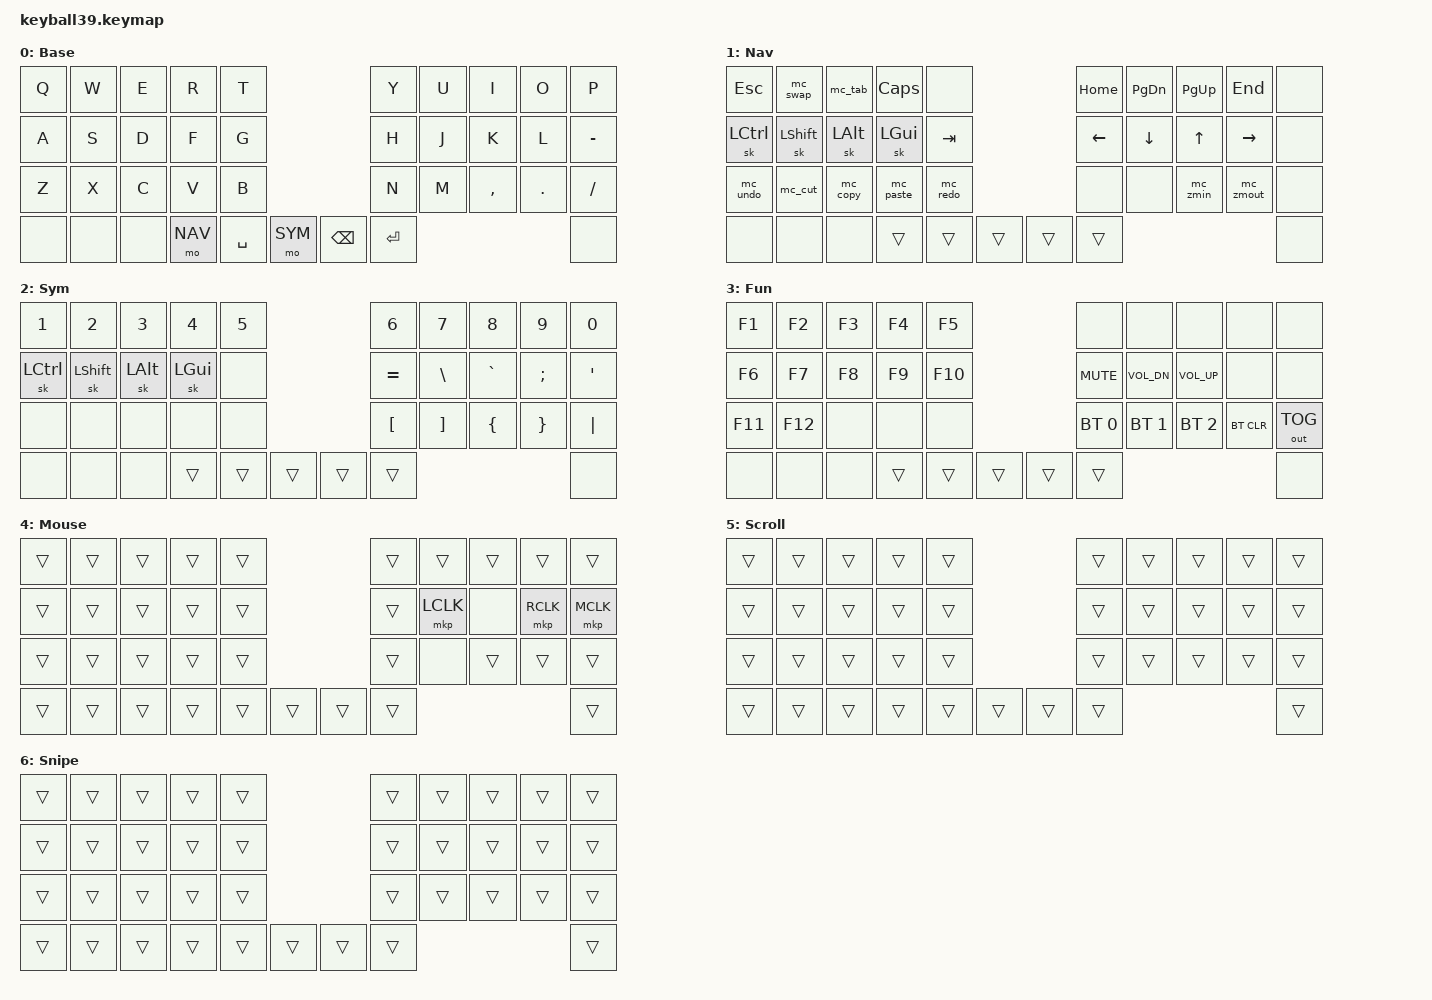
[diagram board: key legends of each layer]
/*
 * Keyball39 BT — 35-key OSM keymap
 * hold-tap 完全排除、Callum式 One-Shot ベース
 * Atreus / Corne と同じ設計
 *
 * Keyball39 LAYOUT (39 keys, 35 使用):
 *   Row 0:  0  1  2  3  4        5  6  7  8  9
 *   Row 1: 10 11 12 13 14       15 16 17 18 19
 *   Row 2: 20 21 22 23 24       25 26 27 28 29
 *   Row 3: 30 31 32 33 34 35  36 37             38
 *
 * 35キー運用: Row3 の 30,31,32,38 を未使用(none)
 * Thumb: 33=NAV 34=SPC 35=SYM | 36=BSPC 37=ENT
 */

#include <behaviors/mouse_keys.dtsi>
#include <dt-bindings/zmk/mouse.h>
#include <behaviors.dtsi>
#include <dt-bindings/zmk/bt.h>
#include <dt-bindings/zmk/keys.h>
#include <dt-bindings/zmk/outputs.h>

#define BASE 0
#define NAV  1
#define SYM  2
#define FUN  3
#define MOUSE 4
#define SCROLL 5
#define SNIPE 6

/ {
    // --- Macros ---
    macros {
        // Swapper（Cmd+Tab: キーを離すまでCmdを保持）
        mc_swap: mc_swap {
            compatible = "zmk,behavior-macro";
            #binding-cells = <0>;
            wait-ms = <30>;
            tap-ms = <30>;
            bindings = <&macro_press &kp LGUI>, <&macro_tap &kp TAB>, <&macro_pause_for_release>, <&macro_release &kp LGUI>;
        };
        // Tabber（Ctrl+Tab: キーを離すまでCtrlを保持）
        mc_tab: mc_tab {
            compatible = "zmk,behavior-macro";
            #binding-cells = <0>;
            wait-ms = <30>;
            tap-ms = <30>;
            bindings = <&macro_press &kp LCTRL>, <&macro_tap &kp TAB>, <&macro_pause_for_release>, <&macro_release &kp LCTRL>;
        };
        // Undo (Cmd+Z)
        mc_undo: mc_undo {
            compatible = "zmk,behavior-macro";
            #binding-cells = <0>;
            wait-ms = <30>;
            tap-ms = <30>;
            bindings = <&macro_press &kp LGUI>, <&macro_tap &kp Z>, <&macro_release &kp LGUI>;
        };
        // Cut (Cmd+X)
        mc_cut: mc_cut {
            compatible = "zmk,behavior-macro";
            #binding-cells = <0>;
            wait-ms = <30>;
            tap-ms = <30>;
            bindings = <&macro_press &kp LGUI>, <&macro_tap &kp X>, <&macro_release &kp LGUI>;
        };
        // Copy (Cmd+C)
        mc_copy: mc_copy {
            compatible = "zmk,behavior-macro";
            #binding-cells = <0>;
            wait-ms = <30>;
            tap-ms = <30>;
            bindings = <&macro_press &kp LGUI>, <&macro_tap &kp C>, <&macro_release &kp LGUI>;
        };
        // Paste (Cmd+V)
        mc_paste: mc_paste {
            compatible = "zmk,behavior-macro";
            #binding-cells = <0>;
            wait-ms = <30>;
            tap-ms = <30>;
            bindings = <&macro_press &kp LGUI>, <&macro_tap &kp V>, <&macro_release &kp LGUI>;
        };
        // Redo (Cmd+Shift+Z)
        mc_redo: mc_redo {
            compatible = "zmk,behavior-macro";
            #binding-cells = <0>;
            wait-ms = <30>;
            tap-ms = <30>;
            bindings = <&macro_press &kp LGUI>, <&macro_press &kp LSHFT>, <&macro_tap &kp Z>, <&macro_release &kp LSHFT>, <&macro_release &kp LGUI>;
        };
        // Zoom In (Cmd+=)
        mc_zmin: mc_zmin {
            compatible = "zmk,behavior-macro";
            #binding-cells = <0>;
            wait-ms = <30>;
            tap-ms = <30>;
            bindings = <&macro_press &kp LGUI>, <&macro_tap &kp EQUAL>, <&macro_release &kp LGUI>;
        };
        // Zoom Out (Cmd+-)
        mc_zmout: mc_zmout {
            compatible = "zmk,behavior-macro";
            #binding-cells = <0>;
            wait-ms = <30>;
            tap-ms = <30>;
            bindings = <&macro_press &kp LGUI>, <&macro_tap &kp MINUS>, <&macro_release &kp LGUI>;
        };
    };

    // --- Combos ---
    combos {
        compatible = "zmk,combos";


        // J + K → Caps Word（2026-11-12 緒方さん指示でコンボ化）
        // 旧: NAV層のキーに置いていた / 旧 D+F の tmux prefix コンボは廃止（「pdf」で誤発火）
        combo_caps_word {
            timeout-ms = <80>;
            require-prior-idle-ms = <150>;
            key-positions = <16 17>;
            bindings = <&caps_word>;
            layers = <BASE>;
        };

        // SPC(34) + BSPC(36) → LNG1 (IME ON)
        combo_lng1 {
            timeout-ms = <50>;
            require-prior-idle-ms = <150>;
            key-positions = <34 36>;
            bindings = <&kp LANGUAGE_1>;
            layers = <BASE>;
        };

        // BSPC(36) + ENT(37) → LNG2 (IME OFF)
        combo_lng2 {
            timeout-ms = <50>;
            require-prior-idle-ms = <150>;
            key-positions = <36 37>;
            bindings = <&kp LANGUAGE_2>;
            layers = <BASE>;
        };


        // --- ブートローダー / リセット（物理リセットボタンの代替・艦隊共通設計） ---
        // 「上段最外列 ＋ 下段最内列」は共通で、**親指だけずらして**切り替える。
        //   親指内側          → &bootloader（焼き用・リセット2回押し相当）
        // ⚠️ 親指の物理配置（2026-11-12 緒方さん確認。キーマップの並び順と内外が逆）:
        //     左手 [NAV][SPC][SYM] │ 中央 │ [BSPC][ENT] 右手
        //           外側 →→→ 内側          内側 ←←← 外側
        //   ＝ **内側(中央寄り)は 左=SYM / 右=BSPC**。NAV は左の一番外側。
        //   親指内側から2番目 → &sys_reset （再起動・1回押し相当）
        // ★各コンボは同一半身のキーのみで構成（片側だけUSB接続して焼く運用のため）。
        // ★layers 未指定＝全レイヤーで有効。3キーなので timeout は緩める。

        // bootloader — 左: 上段最外(0) + 下段最内(24) + SYM(35=親指内側＝中央寄り)
        combo_boot_left {
            timeout-ms = <100>;
            require-prior-idle-ms = <250>;
            key-positions = <0 24 35>;
            bindings = <&bootloader>;
        };

        // bootloader — 右: 上段最外(9) + 下段最内(25) + BSPC(36=親指内側＝中央寄り)
        combo_boot_right {
            timeout-ms = <100>;
            require-prior-idle-ms = <250>;
            key-positions = <9 25 36>;
            bindings = <&bootloader>;
        };

        // sys_reset — 左: 0 + 24 + SPC(34=内側から2番目)
        combo_reset_left {
            timeout-ms = <100>;
            require-prior-idle-ms = <250>;
            key-positions = <0 24 34>;
            bindings = <&sys_reset>;
        };

        // sys_reset — 右: 9 + 25 + ENT(37=内側から2番目)
        combo_reset_right {
            timeout-ms = <100>;
            require-prior-idle-ms = <250>;
            key-positions = <9 25 37>;
            bindings = <&sys_reset>;
        };
    };

    // --- Conditional Layer (NAV + SYM = FUN) ---
    conditional_layers {
        compatible = "zmk,conditional-layers";
        tri_layer {
            if-layers = <NAV SYM>;
            then-layer = <FUN>;
        };
    };

    // --- Keymap ---
    keymap {
        compatible = "zmk,keymap";

        // Base Layer
        //   Q    W    E    R    T  │  Y    U    I    O    P
        //   A    S    D    F    G  │  H    J    K    L    -
        //   Z    X    C    V    B  │  N    M    ,    .    /
        //   ---  ---  ---  NAV SPC  SYM│  BSPC ENT             ---
        BASE_layer {
            display-name = "Base";
            bindings = <
&kp Q  &kp W  &kp E  &kp R     &kp T                                       &kp Y     &kp U    &kp I      &kp O    &kp P
&kp A  &kp S  &kp D  &kp F     &kp G                                       &kp H     &kp J    &kp K      &kp L    &kp MINUS
&kp Z  &kp X  &kp C  &kp V     &kp B                                       &kp N     &kp M    &kp COMMA  &kp DOT  &kp FSLH
&none  &none  &none  &mo NAV   &kp SPC   &mo SYM                 &kp BSPC  &kp RET                                &none
            >;
        };

        // NAV Layer（左内側親指）
        //   ESC  SWAP STAB CAPS ---  │  HOME PGDN PGUP END  ---
        //   skCTL skSFT skALT skGUI TAB│ LEFT DOWN UP  RGHT ---
        //   UNDO CUT  COPY PST REDO │  ---  ---  ZM+  ZM-  ---
        //   ---  ---  ---  ___  ___  ___│  ___  ___             ---
        NAV_layer {
            display-name = "Nav";
            bindings = <
&kp ESC    &mc_swap   &mc_tab    &kp CAPS    &none                                        &kp HOME  &kp PG_DN  &kp PG_UP  &kp END    &none
&sk LCTRL  &sk LSHFT  &sk LALT   &sk LGUI    &kp TAB                                      &kp LEFT  &kp DOWN   &kp UP     &kp RIGHT  &none
&mc_undo   &mc_cut    &mc_copy   &mc_paste   &mc_redo                                     &none     &none      &mc_zmin   &mc_zmout  &none
&none      &none      &none      &trans      &trans     &trans                   &trans    &trans                                     &none
            >;
        };

        // SYM Layer（左外側親指）
        //   1    2    3    4    5  │  6    7    8    9    0
        //   skCTL skSFT skALT skGUI --- │  =    \    `    ;    '
        //   ---  ---  ---  ---  ---│  [    ]    {    }    |
        //   ---  ---  ---  ___  ___  ___│  ___  ___             ---
        SYM_layer {
            display-name = "Sym";
            bindings = <
&kp N1     &kp N2     &kp N3    &kp N4    &kp N5                                      &kp N6    &kp N7    &kp N8    &kp N9    &kp N0
&sk LCTRL  &sk LSHFT  &sk LALT  &sk LGUI  &none                                       &kp EQUAL &kp BSLH  &kp GRAVE &kp SEMI  &kp SQT
&none      &none      &none     &none     &none                                       &kp LBKT  &kp RBKT  &kp LBRC  &kp RBRC  &kp PIPE
&none      &none      &none     &trans    &trans     &trans                  &trans    &trans                                  &none
            >;
        };

        // FUN Layer（NAV + SYM 同時）
        //   F1   F2   F3   F4   F5 │  ---  ---  ---  ---  ---
        //   F6   F7   F8   F9   F10│  MUTE VOLD VOLU ---  ---
        //   F11  F12  ---  ---  ---│  BT0  BT1  BT2  BTCLR OUTTOG
        //   ---  ---  ---  ___  ___  ___│  ___  ___             ---
        FUN_layer {
            display-name = "Fun";
            bindings = <
&kp F1   &kp F2   &kp F3  &kp F4  &kp F5                                        &none         &none         &none         &none       &none
&kp F6   &kp F7   &kp F8  &kp F9  &kp F10                                       &kp K_MUTE    &kp K_VOL_DN  &kp K_VOL_UP  &none       &none
&kp F11  &kp F12  &none   &none   &none                                         &bt BT_SEL 0  &bt BT_SEL 1  &bt BT_SEL 2  &bt BT_CLR  &out OUT_TOG
&none    &none    &none   &trans  &trans     &trans                    &trans    &trans                                                 &none
            >;
        };

        // MOUSE Layer（トラックボール用 — 将来用）
        mouse_layer {
            display-name = "Mouse";
            bindings = <
&trans  &trans  &trans  &trans  &trans                                     &trans     &trans     &trans  &trans     &trans
&trans  &trans  &trans  &trans  &trans                                     &trans     &mkp LCLK  &none   &mkp RCLK  &mkp MCLK
&trans  &trans  &trans  &trans  &trans                                     &trans     &none      &trans  &trans     &trans
&trans  &trans  &trans  &trans  &trans  &trans                   &trans    &trans                                   &trans
            >;
        };

        // SCROLL Layer（トラックボールスクロール用 — 将来用）
        scroll_layer {
            display-name = "Scroll";
            bindings = <
&trans  &trans  &trans  &trans  &trans                                     &trans  &trans  &trans  &trans  &trans
&trans  &trans  &trans  &trans  &trans                                     &trans  &trans  &trans  &trans  &trans
&trans  &trans  &trans  &trans  &trans                                     &trans  &trans  &trans  &trans  &trans
&trans  &trans  &trans  &trans  &trans  &trans                   &trans    &trans                          &trans
            >;
        };

        // SNIPE Layer（トラックボール低速モード — snipe-layers = <6> 用）
        snipe_layer {
            display-name = "Snipe";
            bindings = <
&trans  &trans  &trans  &trans  &trans                                     &trans  &trans  &trans  &trans  &trans
&trans  &trans  &trans  &trans  &trans                                     &trans  &trans  &trans  &trans  &trans
&trans  &trans  &trans  &trans  &trans                                     &trans  &trans  &trans  &trans  &trans
&trans  &trans  &trans  &trans  &trans  &trans                   &trans    &trans                          &trans
            >;
        };
    };
};

// --- One-Shot Modifier 設定 ---
&sk {
    release-after-ms = <2000>;
};
